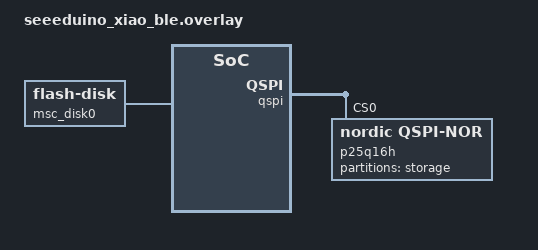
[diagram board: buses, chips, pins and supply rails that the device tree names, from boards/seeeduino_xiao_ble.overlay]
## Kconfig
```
# Copyright (c) 2019-2020 Nordic Semiconductor ASA
# SPDX-License-Identifier: Apache-2.0

menu "MSC sample options"

config APP_WIPE_STORAGE
	bool "Option to clear the flash area before mounting"
	help
	  Use this to force an existing file system to be created.

choice
	prompt "Storage and file system type used by the application"
	default APP_MSC_STORAGE_NONE
	help
	  Specify the type of storage and file system.

config APP_MSC_STORAGE_NONE
	bool "Use RAM disk as block device"

config APP_MSC_STORAGE_RAM
	bool "Use RAM disk and FAT file system"
	imply FILE_SYSTEM
	imply FAT_FILESYSTEM_ELM

config APP_MSC_STORAGE_FLASH_FATFS
	bool "Use FLASH disk and FAT file system"
	imply DISK_DRIVER_FLASH
	imply FILE_SYSTEM
	imply FAT_FILESYSTEM_ELM

config APP_MSC_STORAGE_FLASH_LITTLEFS
	bool "Use FLASH disk and LittleFS"
	imply DISK_DRIVER_FLASH
	imply FILE_SYSTEM
	imply FILE_SYSTEM_LITTLEFS

config APP_MSC_STORAGE_SDCARD
	bool "Use SDHC and FAT file system"
	imply DISK_DRIVER_SDMMC
	imply FILE_SYSTEM
	imply FAT_FILESYSTEM_ELM

endchoice

config MASS_STORAGE_DISK_NAME
	default "NAND" if DISK_DRIVER_FLASH
	default "RAM" if DISK_DRIVER_RAM
	default "SD" if DISK_DRIVER_SDMMC

if DISK_DRIVER_FLASH

config FLASH_MAP
	default y

config FLASH_PAGE_LAYOUT
	default y

config FLASH_LOG_LEVEL
	default 3

if NORDIC_QSPI_NOR

config NORDIC_QSPI_NOR_FLASH_LAYOUT_PAGE_SIZE
	default 4096

endif # NORDIC_QSPI_NOR

endif # DISK_DRIVER_FLASH

endmenu

# Source common USB sample options used to initialize new experimental USB
# device stack. The scope of these options is limited to USB samples in project
# tree, you cannot use them in your own application.
source "samples/subsys/usb/common/Kconfig.sample_usbd"
```

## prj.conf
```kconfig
CONFIG_STDOUT_CONSOLE=y

#USB related configs
CONFIG_USB_DEVICE_STACK=y
CONFIG_USB_DEVICE_PRODUCT="Zephyr MSC sample"
CONFIG_USB_DEVICE_PID=0x0008
CONFIG_LOG=y
CONFIG_USB_DRIVER_LOG_LEVEL_DBG=y
CONFIG_USB_MASS_STORAGE=y
CONFIG_USB_DEVICE_LOG_LEVEL_DBG=y
CONFIG_USB_MASS_STORAGE_LOG_LEVEL_DBG=y
CONFIG_USB_DEVICE_INITIALIZE_AT_BOOT=n

CONFIG_MAIN_STACK_SIZE=1536

CONFIG_APP_MSC_STORAGE_FLASH_FATFS=y

CONFIG_USB_DRIVER_LOG_LEVEL_ERR=y
CONFIG_USB_DEVICE_LOG_LEVEL_ERR=y
CONFIG_USB_MASS_STORAGE_LOG_LEVEL_ERR=y

CONFIG_DISK_DRIVER_FLASH=y
```

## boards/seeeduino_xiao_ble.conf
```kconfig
CONFIG_APP_MSC_STORAGE_FLASH_FATFS=y
```

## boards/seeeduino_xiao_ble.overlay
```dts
/*
 * Copyright (c) 2019 Peter Bigot Consulting, LLC
 *
 * SPDX-License-Identifier: Apache-2.0
 */

// The seeeduino_xiao_ble device tree file in the Zephyr version ZMK uses is incorrect.
// It uses the wrong QSPI flash driver (gd25q16) while xiao_ble uses the correct one (p25q16h).
// We must delete the current qspi node and replace it with a correctly configured one.
/delete-node/ &gd25q16;

// Delete the current storage partition since we are defining our own.
/delete-node/ &storage_partition;

&qspi {
    p25q16h: p25q16h@0 {
        compatible = "nordic,qspi-nor";
        reg = <0>;
		writeoc = "pp4o";
		readoc = "read4io";
        sck-frequency = <104000000>;
        quad-enable-requirements = "S2B1v1";
        jedec-id = [85 60 15];
        sfdp-bfp = [
            e5 20 f1 ff  ff ff ff 00  44 eb 08 6b  08 3b 80 bb
            ee ff ff ff  ff ff 00 ff  ff ff 00 ff  0c 20 0f 52
            10 d8 08 81
        ];
        size = <16777216>;
        has-dpd;
        t-enter-dpd = <3000>;
        t-exit-dpd = <8000>;

		partitions {
			compatible = "fixed-partitions";
			#address-cells = <1>;
			#size-cells = <1>;

			storage_partition: partition@0 {
				label = "storage";
				reg = <0x00000000 DT_SIZE_M(2)>;
			};
		};
    };
};

/ {
	msc_disk0 {
		compatible = "zephyr,flash-disk";
		partition = <&storage_partition>;
		disk-name = "NAND";
		cache-size = <4096>;
	};
};
```

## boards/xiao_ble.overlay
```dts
/*
 * Copyright (c) 2019 Peter Bigot Consulting, LLC
 *
 * SPDX-License-Identifier: Apache-2.0
 */

// Delete the current storage partition since we are defining our own.
/delete-node/ &storage_partition;

&qspi {
    p25q16h: p25q16h@0 {
		writeoc = "pp4o";
		readoc = "read4io";
        sck-frequency = <104000000>;
		partitions {
			compatible = "fixed-partitions";
			#address-cells = <1>;
			#size-cells = <1>;

			storage_partition: partition@0 {
				label = "storage";
				reg = <0x00000000 DT_SIZE_M(2)>;
			};
		};
    };
};

/ {
	msc_disk0 {
		compatible = "zephyr,flash-disk";
		partition = <&storage_partition>;
		disk-name = "NAND";
		cache-size = <4096>;
	};
};
```

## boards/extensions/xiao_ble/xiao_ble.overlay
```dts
/*
 * Copyright (c) 2019 Peter Bigot Consulting, LLC
 *
 * SPDX-License-Identifier: Apache-2.0
 */


&qspi {
    p25q16h: p25q16h@0 {
		writeoc = "pp4o";
		readoc = "read4io";
        sck-frequency = <104000000>;
		partitions {
			compatible = "fixed-partitions";
			#address-cells = <1>;
			#size-cells = <1>;

			external_partition: partition@0 {
				label = "external";
				reg = <0x00000000 DT_SIZE_M(2)>;
			};
		};
    };
};

/ {
	msc_disk0 {
		compatible = "zephyr,flash-disk";
		partition = <&external_partition>;
		disk-name = "NAND";
		cache-size = <4096>;
	};
};
```

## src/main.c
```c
/*
 * Copyright (c) 2016 Intel Corporation.
 * Copyright (c) 2019-2020 Nordic Semiconductor ASA
 *
 * SPDX-License-Identifier: Apache-2.0
 */

#include <sample_usbd.h>

#include <zephyr/kernel.h>
#include <zephyr/logging/log.h>
#include <zephyr/usb/usb_device.h>
#include <zephyr/usb/usbd.h>
#include <zephyr/usb/class/usbd_msc.h>
#include <zephyr/fs/fs.h>
#include <stdio.h>

LOG_MODULE_REGISTER(main);

#if CONFIG_DISK_DRIVER_FLASH
#include <zephyr/storage/flash_map.h>
#endif

#if CONFIG_FAT_FILESYSTEM_ELM
#include <ff.h>
#endif

#if CONFIG_FILE_SYSTEM_LITTLEFS
#include <zephyr/fs/littlefs.h>
FS_LITTLEFS_DECLARE_DEFAULT_CONFIG(storage);
#endif

#if !defined(CONFIG_DISK_DRIVER_FLASH) && \
	!defined(CONFIG_DISK_DRIVER_RAM) && \
	!defined(CONFIG_DISK_DRIVER_SDMMC)
#error No supported disk driver enabled
#endif

#define STORAGE_PARTITION		storage_partition
#define STORAGE_PARTITION_ID		FIXED_PARTITION_ID(STORAGE_PARTITION)

static struct fs_mount_t fs_mnt;

#if defined(CONFIG_USB_DEVICE_STACK_NEXT)
static struct usbd_context *sample_usbd;

#if CONFIG_DISK_DRIVER_RAM
USBD_DEFINE_MSC_LUN(ram, "RAM", "Zephyr", "RAMDisk", "0.00");
#endif

#if CONFIG_DISK_DRIVER_FLASH
USBD_DEFINE_MSC_LUN(nand, "NAND", "Zephyr", "FlashDisk", "0.00");
#endif

#if CONFIG_DISK_DRIVER_SDMMC
USBD_DEFINE_MSC_LUN(sd, "SD", "Zephyr", "SD", "0.00");
#endif

static int enable_usb_device_next(void)
{
	int err;

	sample_usbd = sample_usbd_init_device(NULL);
	if (sample_usbd == NULL) {
		LOG_ERR("Failed to initialize USB device");
		return -ENODEV;
	}

	err = usbd_enable(sample_usbd);
	if (err) {
		LOG_ERR("Failed to enable device support");
		return err;
	}

	LOG_DBG("USB device support enabled");

	return 0;
}
#endif /* defined(CONFIG_USB_DEVICE_STACK_NEXT) */

static int setup_flash(struct fs_mount_t *mnt)
{
	int rc = 0;
#if CONFIG_DISK_DRIVER_FLASH
	unsigned int id;
	const struct flash_area *pfa;

	mnt->storage_dev = (void *)STORAGE_PARTITION_ID;
	id = STORAGE_PARTITION_ID;

	rc = flash_area_open(id, &pfa);
	printk("Area %u at 0x%x on %s for %u bytes\n",
	       id, (unsigned int)pfa->fa_off, pfa->fa_dev->name,
	       (unsigned int)pfa->fa_size);

	if (rc < 0 && IS_ENABLED(CONFIG_APP_WIPE_STORAGE)) {
		printk("Erasing flash area ... ");
		rc = flash_area_flatten(pfa, 0, pfa->fa_size);
		printk("%d\n", rc);
	}

	if (rc < 0) {
		flash_area_close(pfa);
	}
#endif
	return rc;
}

static int mount_app_fs(struct fs_mount_t *mnt)
{
	int rc;

#if CONFIG_FAT_FILESYSTEM_ELM
	static FATFS fat_fs;

	mnt->type = FS_FATFS;
	mnt->fs_data = &fat_fs;
	if (IS_ENABLED(CONFIG_DISK_DRIVER_RAM)) {
		mnt->mnt_point = "/RAM:";
	} else if (IS_ENABLED(CONFIG_DISK_DRIVER_SDMMC)) {
		mnt->mnt_point = "/SD:";
	} else {
		mnt->mnt_point = "/NAND:";
	}

  LOG_PRINTK("Mount point: %s\n", mnt->mnt_point);

#elif CONFIG_FILE_SYSTEM_LITTLEFS
	mnt->type = FS_LITTLEFS;
	mnt->mnt_point = "/lfs";
	mnt->fs_data = &storage;
#endif
	rc = fs_mount(mnt);

	return rc;
}

static void setup_disk(void)
{
	struct fs_mount_t *mp = &fs_mnt;
	struct fs_dir_t dir;
	int rc;

	fs_dir_t_init(&dir);

	if (IS_ENABLED(CONFIG_DISK_DRIVER_FLASH)) {
		rc = setup_flash(mp);
		if (rc < 0) {
			LOG_ERR("Failed to setup flash area");
			return;
		}
	}

	if (!IS_ENABLED(CONFIG_FILE_SYSTEM_LITTLEFS) &&
	    !IS_ENABLED(CONFIG_FAT_FILESYSTEM_ELM)) {
		LOG_INF("No file system selected");
		return;
	}

	rc = mount_app_fs(mp);
	if (rc < 0) {
		LOG_ERR("Failed to mount filesystem");
		return;
	}

	return;
}

SYS_INIT(setup_disk, APPLICATION, 99);
```
